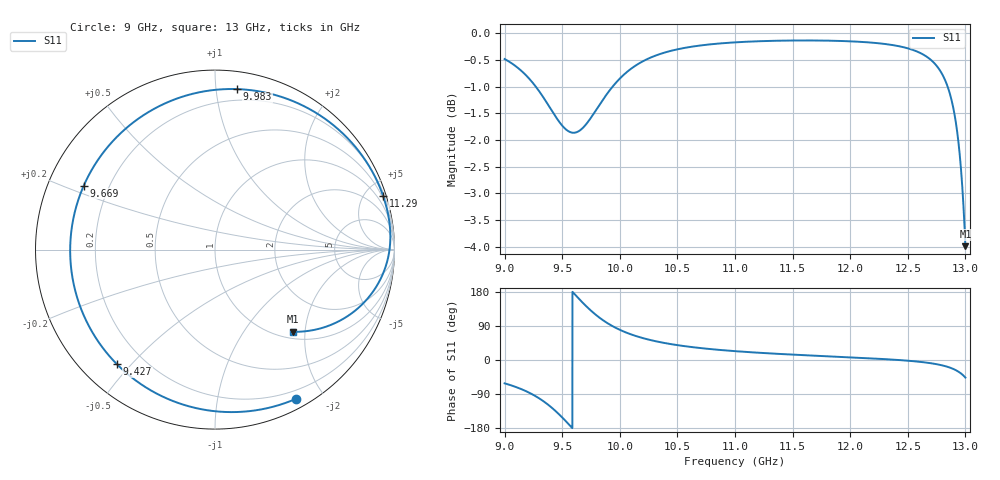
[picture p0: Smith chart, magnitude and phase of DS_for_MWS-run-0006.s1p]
! TOUCHSTONE file generated by CST DESIGN STUDIO
! Date and time: Tue Feb  4 17:13:58 2025
! Project name: C:\Work\MatlabApps\UnitCellOptimizationMatlab\CST\unitcell.cst
! Tree item: Tasks\Sweep1\SPara1\S-Parameters
! Header version: 2024
! Port assignment regex: !\s*Touchstone port\s*([0-9]+)\s*=\s*(CST MWS port|CST DES external port|CST DES block port)\s*(.+)\s* \(\"(.*)\"\)(\s*mode\s*([0-9]+))?.*
! Touchstone port assignment:
! Touchstone port 1 = CST DES external port 1 ("")
# GHz S MA R 50
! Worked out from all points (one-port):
!   4001 points, 9 GHz to 13 GHz, reference 50 ohm
!   lowest |S11| = -4.0 dB at 13 GHz (marker M1), VSWR 4.44, Z = 56.8 - j86.7 ohm
!   |S11| at or under -10 dB: nowhere
!   S11 on the Smith chart (normalised r, x): 9 GHz: 0.11, -1.67; 9.427 GHz: 0.10, -0.46; 9.669 GHz: 0.11, +0.23; 9.983 GHz: 0.12, +1.14; 11.29 GHz: 0.36, +6.44; 13 GHz: 1.14, -1.73
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9  0.9457 -61.6
9.129  0.9252 -74.8
9.259  0.8944 -93.7
9.347  0.8673 -110.9
9.427  0.8405 -130.5
9.5  0.8194 -151.5
9.585  0.8071 -178.8
9.626  0.8079 167.8
9.669  0.8134 154.0
9.742  0.8312 132.3
9.814  0.8538 113.9
9.892  0.8782 97.4
9.983  0.9027 82.1
10  0.9067 79.7
10.104  0.9272 66.9
10.218  0.9433 56.3
10.348  0.9559 47.2
10.5  0.9657 39.2
10.72  0.9743 30.9
11  0.9803 23.3
11.292  0.9833 17.6
11.5  0.9842 14.2
12  0.9825 7.0
12.5  0.9678 -1.8
12.711  0.9418 -9.0
12.84  0.8947 -17.5
12.925  0.8141 -28.1
13  0.632 -46.4
